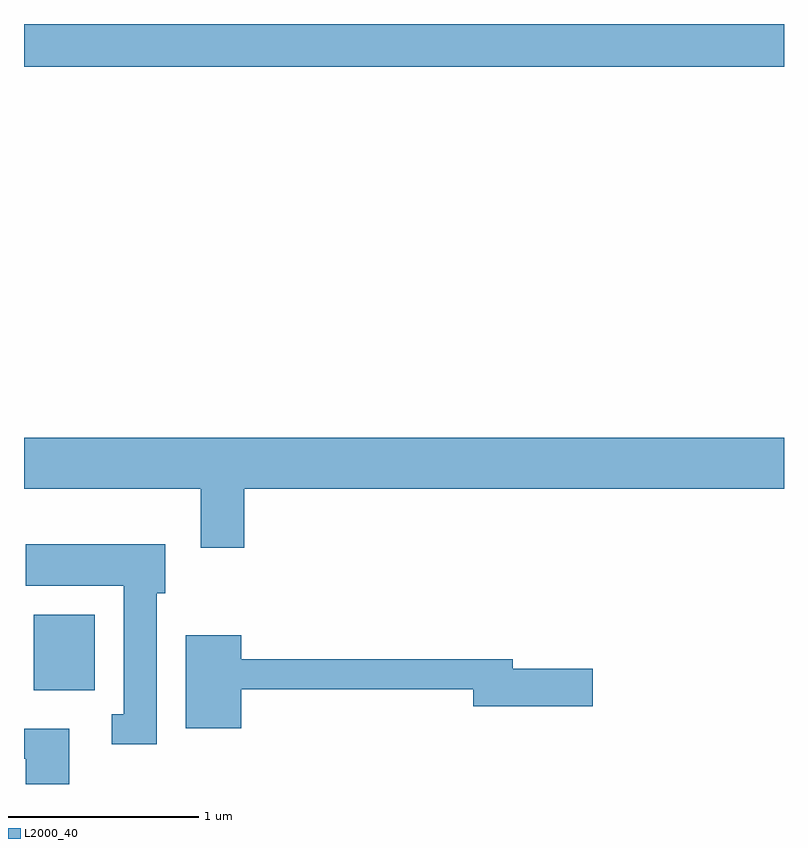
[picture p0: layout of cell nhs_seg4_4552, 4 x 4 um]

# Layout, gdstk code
import gdstk
lib = gdstk.Library(unit=1e-6, precision=1e-09)
def R(c, l, rs):  # rectangles x0, y0, x1, y1
    for r in rs: c.add(gdstk.rectangle(r[:2], r[2:], *l))
def P(c, l, *ps):  # polygons
    for p in ps: c.add(gdstk.Polygon(p, *l))
L2000_40 = (2000, 40)

nhs_seg4_4552 = lib.new_cell('nhs_seg4_4552')
R(nhs_seg4_4552, L2000_40, [(317.661,1382.476,317.984,1382.874), (317.611,1385.756,321.611,1385.982)])
P(nhs_seg4_4552, L2000_40, [(318.769,1383.536),(321.611,1383.536),(321.611,1383.804),(317.611,1383.804),(317.611,1383.536),(318.541,1383.536),(318.541,1383.226),(318.769,1383.226)],
  [(318.309,1382.986),(318.354,1382.986),(318.354,1383.244),(317.621,1383.244),(317.621,1383.026),(318.136,1383.026),(318.136,1382.349),(318.073,1382.349),(318.073,1382.191),(318.309,1382.191)],
  [(318.754,1382.481),(319.976,1382.481),(319.976,1382.391),(320.604,1382.391),(320.604,1382.589),(320.184,1382.589),(320.184,1382.639),(318.754,1382.639),(318.754,1382.764),(318.461,1382.764),(318.461,1382.276),(318.754,1382.276)],
  [(317.849,1382.274),(317.611,1382.274),(317.611,1382.116),(317.621,1382.116),(317.621,1381.982),(317.849,1381.982)])

lib.write_gds('nhs_seg4_4552.gds')
